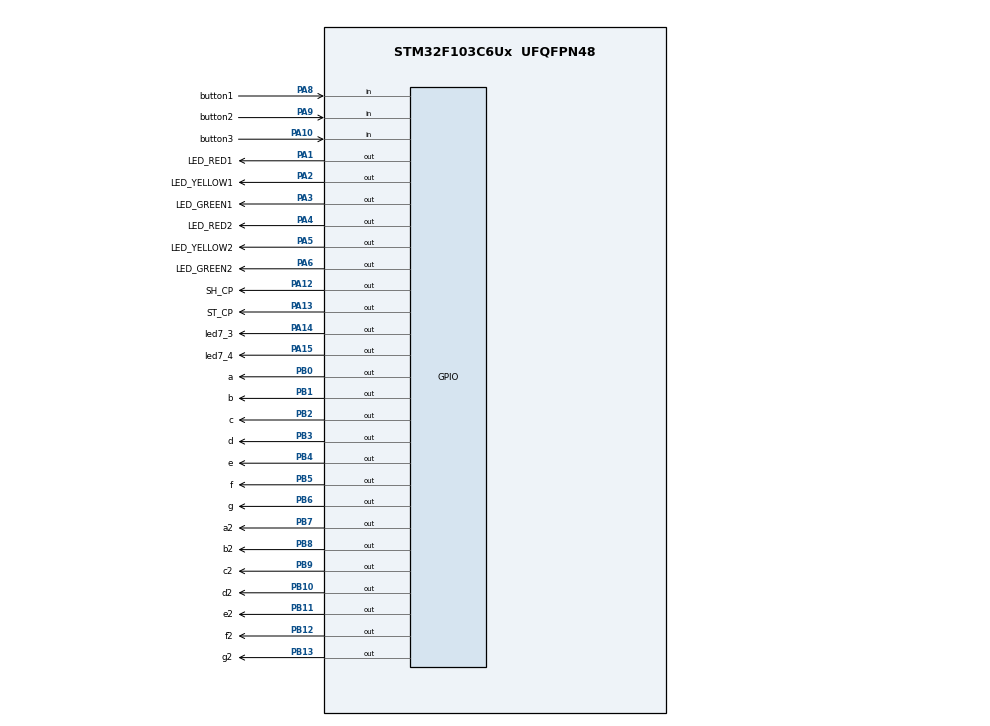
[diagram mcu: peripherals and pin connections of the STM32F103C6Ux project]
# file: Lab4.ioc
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Mcu.Family=STM32F1
Mcu.Name=STM32F103C6Ux
Mcu.Package=UFQFPN48
NVIC.PriorityGroup=NVIC_PRIORITYGROUP_4
NVIC.TIM2_IRQn=true\:0\:0\:false\:false\:true\:true\:true
PA1.GPIO_Label=LED_RED1
PA1.Signal=GPIO_Output
PA10.GPIO_Label=button3
PA10.GPIO_PuPd=GPIO_PULLUP
PA10.Signal=GPIO_Input
PA12.GPIO_Label=SH_CP
PA12.Signal=GPIO_Output
PA13.GPIO_Label=ST_CP
PA13.Signal=GPIO_Output
PA14.GPIO_Label=led7_3
PA14.Signal=GPIO_Output
PA15.GPIO_Label=led7_4
PA15.Signal=GPIO_Output
PA2.GPIO_Label=LED_YELLOW1
PA2.Signal=GPIO_Output
PA3.GPIO_Label=LED_GREEN1
PA3.Signal=GPIO_Output
PA4.GPIO_Label=LED_RED2
PA4.Signal=GPIO_Output
PA5.GPIO_Label=LED_YELLOW2
PA5.Signal=GPIO_Output
PA6.GPIO_Label=LED_GREEN2
PA6.Signal=GPIO_Output
PA8.GPIO_Label=button1
PA8.GPIO_PuPd=GPIO_PULLUP
PA8.Signal=GPIO_Input
PA9.GPIO_Label=button2
PA9.GPIO_PuPd=GPIO_PULLUP
PA9.Signal=GPIO_Input
PB0.GPIO_Label=a
PB0.Signal=GPIO_Output
PB1.GPIO_Label=b
PB1.Signal=GPIO_Output
PB10.GPIO_Label=d2
PB10.Signal=GPIO_Output
PB11.GPIO_Label=e2
PB11.Signal=GPIO_Output
PB12.GPIO_Label=f2
PB12.Signal=GPIO_Output
PB13.GPIO_Label=g2
PB13.Signal=GPIO_Output
PB2.GPIO_Label=c
PB2.Signal=GPIO_Output
PB3.GPIO_Label=d
PB3.Signal=GPIO_Output
PB4.GPIO_Label=e
PB4.Signal=GPIO_Output
PB5.GPIO_Label=f
PB5.Signal=GPIO_Output
PB6.GPIO_Label=g
PB6.Signal=GPIO_Output
PB7.GPIO_Label=a2
PB7.Signal=GPIO_Output
PB8.GPIO_Label=b2
PB8.Signal=GPIO_Output
PB9.GPIO_Label=c2
PB9.Signal=GPIO_Output
ProjectManager.HeapSize=0x200
ProjectManager.StackSize=0x400
ProjectManager.TargetToolchain=STM32CubeIDE
RCC.APB1Freq_Value=8000000
RCC.APB2Freq_Value=8000000
TIM2.Period=9
TIM2.Prescaler=7999
VP_SYS_VS_ND.Mode=No_Debug
VP_TIM2_VS_ClockSourceINT.Mode=Internal
board=custom

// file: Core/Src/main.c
/* USER CODE BEGIN Header */
/**
  ******************************************************************************
  * @file           : main.c
  * @brief          : Main program body
  ******************************************************************************
  * @attention
  *
  * <h2><center>&copy; Copyright (c) 2024 STMicroelectronics.
  * All rights reserved.</center></h2>
  *
  * This software component is licensed by ST under BSD 3-Clause license,
  * the "License"; You may not use this file except in compliance with the
  * License. You may obtain a copy of the License at:
  *                        opensource.org/licenses/BSD-3-Clause
  *
  ******************************************************************************
  */
/* USER CODE END Header */
#include "main.h"

/* USER CODE BEGIN Includes */
#include "scheduler.h"
#include "button.h"
#include "display7seg.h"
#include "global.h"
#include "fsm_automatic.h"
#include "fsm_manual.h"

void test(){

}

/* USER CODE END Includes */

TIM_HandleTypeDef htim2;

void SystemClock_Config(void);
static void MX_GPIO_Init(void);
static void MX_TIM2_Init(void);

int main(void)
{

  /* MCU Configuration--------------------------------------------------------*/

  /* Reset of all peripherals, Initializes the Flash interface and the Systick. */
  HAL_Init();

  /* Configure the system clock */
  SystemClock_Config();

  /* Initialize all configured peripherals */
  MX_GPIO_Init();
  MX_TIM2_Init();
  /* USER CODE BEGIN 2 */
  HAL_TIM_Base_Start_IT(&htim2);
  /* USER CODE END 2 */

  /* Infinite loop */
  /* USER CODE BEGIN WHILE */
 SCH_Init();
 SCH_Add_Task(fsm_manual, 0, 100);
 SCH_Add_Task(getKey1Input, 0, 5);
 SCH_Add_Task(getKey2Input, 0, 5);
 SCH_Add_Task(getKey3Input, 0, 5);
 status = INIT;

  while (1)
  {
	  SCH_Dispatch_Tasks();

    /* USER CODE END WHILE */

  }
}

void SystemClock_Config(void)
{
  RCC_OscInitTypeDef RCC_OscInitStruct = {0};
  RCC_ClkInitTypeDef RCC_ClkInitStruct = {0};

  /** Initializes the RCC Oscillators according to the specified parameters
  * in the RCC_OscInitTypeDef structure.
  */
  RCC_OscInitStruct.OscillatorType = RCC_OSCILLATORTYPE_HSI;
  RCC_OscInitStruct.HSIState = RCC_HSI_ON;
  RCC_OscInitStruct.HSICalibrationValue = RCC_HSICALIBRATION_DEFAULT;
  RCC_OscInitStruct.PLL.PLLState = RCC_PLL_NONE;
  if (HAL_RCC_OscConfig(&RCC_OscInitStruct) != HAL_OK)
  {
    Error_Handler();
  }
  /** Initializes the CPU, AHB and APB buses clocks
  */
  RCC_ClkInitStruct.ClockType = RCC_CLOCKTYPE_HCLK|RCC_CLOCKTYPE_SYSCLK
                              |RCC_CLOCKTYPE_PCLK1|RCC_CLOCKTYPE_PCLK2;
  RCC_ClkInitStruct.SYSCLKSource = RCC_SYSCLKSOURCE_HSI;
  RCC_ClkInitStruct.AHBCLKDivider = RCC_SYSCLK_DIV1;
  RCC_ClkInitStruct.APB1CLKDivider = RCC_HCLK_DIV1;
  RCC_ClkInitStruct.APB2CLKDivider = RCC_HCLK_DIV1;

  if (HAL_RCC_ClockConfig(&RCC_ClkInitStruct, FLASH_LATENCY_0) != HAL_OK)
  {
    Error_Handler();
  }
}

static void MX_TIM2_Init(void)
{

  TIM_ClockConfigTypeDef sClockSourceConfig = {0};
  TIM_MasterConfigTypeDef sMasterConfig = {0};

  htim2.Instance = TIM2;
  htim2.Init.Prescaler = 7999;
  htim2.Init.CounterMode = TIM_COUNTERMODE_UP;
  htim2.Init.Period = 9;
  htim2.Init.ClockDivision = TIM_CLOCKDIVISION_DIV1;
  htim2.Init.AutoReloadPreload = TIM_AUTORELOAD_PRELOAD_DISABLE;
  if (HAL_TIM_Base_Init(&htim2) != HAL_OK)
  {
    Error_Handler();
  }
  sClockSourceConfig.ClockSource = TIM_CLOCKSOURCE_INTERNAL;
  if (HAL_TIM_ConfigClockSource(&htim2, &sClockSourceConfig) != HAL_OK)
  {
    Error_Handler();
  }
  sMasterConfig.MasterOutputTrigger = TIM_TRGO_RESET;
  sMasterConfig.MasterSlaveMode = TIM_MASTERSLAVEMODE_DISABLE;
  if (HAL_TIMEx_MasterConfigSynchronization(&htim2, &sMasterConfig) != HAL_OK)
  {
    Error_Handler();
  }

}

static void MX_GPIO_Init(void)
{
  GPIO_InitTypeDef GPIO_InitStruct = {0};

  /* GPIO Ports Clock Enable */
  __HAL_RCC_GPIOA_CLK_ENABLE();
  __HAL_RCC_GPIOB_CLK_ENABLE();

  /*Configure GPIO pin Output Level */
  HAL_GPIO_WritePin(GPIOA, LED_RED1_Pin|LED_YELLOW1_Pin|LED_GREEN1_Pin|LED_RED2_Pin
                          |LED_YELLOW2_Pin|LED_GREEN2_Pin|SH_CP_Pin|ST_CP_Pin
                          |led7_3_Pin|led7_4_Pin, GPIO_PIN_RESET);

  /*Configure GPIO pin Output Level */
  HAL_GPIO_WritePin(GPIOB, a_Pin|b_Pin|c_Pin|d2_Pin
                          |e2_Pin|f2_Pin|g2_Pin|d_Pin
                          |e_Pin|f_Pin|g_Pin|a2_Pin
                          |b2_Pin|c2_Pin, GPIO_PIN_RESET);

  /*Configure GPIO pins : LED_RED1_Pin LED_YELLOW1_Pin LED_GREEN1_Pin LED_RED2_Pin
                           LED_YELLOW2_Pin LED_GREEN2_Pin SH_CP_Pin ST_CP_Pin
                           led7_3_Pin led7_4_Pin */
  GPIO_InitStruct.Pin = LED_RED1_Pin|LED_YELLOW1_Pin|LED_GREEN1_Pin|LED_RED2_Pin
                          |LED_YELLOW2_Pin|LED_GREEN2_Pin|SH_CP_Pin|ST_CP_Pin
                          |led7_3_Pin|led7_4_Pin;
  GPIO_InitStruct.Mode = GPIO_MODE_OUTPUT_PP;
  GPIO_InitStruct.Pull = GPIO_NOPULL;
  GPIO_InitStruct.Speed = GPIO_SPEED_FREQ_LOW;
  HAL_GPIO_Init(GPIOA, &GPIO_InitStruct);

  /*Configure GPIO pins : a_Pin b_Pin c_Pin d2_Pin
                           e2_Pin f2_Pin g2_Pin d_Pin
                           e_Pin f_Pin g_Pin a2_Pin
                           b2_Pin c2_Pin */
  GPIO_InitStruct.Pin = a_Pin|b_Pin|c_Pin|d2_Pin
                          |e2_Pin|f2_Pin|g2_Pin|d_Pin
                          |e_Pin|f_Pin|g_Pin|a2_Pin
                          |b2_Pin|c2_Pin;
  GPIO_InitStruct.Mode = GPIO_MODE_OUTPUT_PP;
  GPIO_InitStruct.Pull = GPIO_NOPULL;
  GPIO_InitStruct.Speed = GPIO_SPEED_FREQ_LOW;
  HAL_GPIO_Init(GPIOB, &GPIO_InitStruct);

  /*Configure GPIO pins : button1_Pin button2_Pin button3_Pin */
  GPIO_InitStruct.Pin = button1_Pin|button2_Pin|button3_Pin;
  GPIO_InitStruct.Mode = GPIO_MODE_INPUT;
  GPIO_InitStruct.Pull = GPIO_PULLUP;
  HAL_GPIO_Init(GPIOA, &GPIO_InitStruct);

}

/* USER CODE BEGIN 4 */
void HAL_TIM_PeriodElapsedCallback(TIM_HandleTypeDef *htim)
{
	SCH_Update();
}
/* USER CODE END 4 */

void Error_Handler(void)
{
  __disable_irq();
  while (1)
  {
  }
}

/************************ (C) COPYRIGHT STMicroelectronics *****END OF FILE****/
